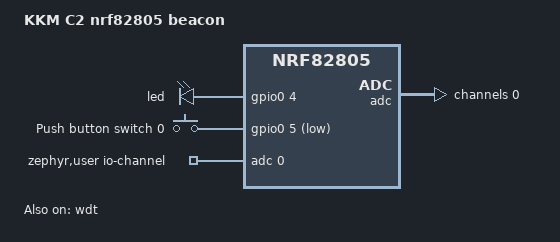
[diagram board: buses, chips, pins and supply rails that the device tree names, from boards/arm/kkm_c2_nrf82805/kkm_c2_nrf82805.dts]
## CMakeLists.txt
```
# SPDX-License-Identifier: Apache-2.0

cmake_minimum_required(VERSION 3.20.0)
find_package(Zephyr REQUIRED HINTS $ENV{ZEPHYR_BASE})
project(EveryTag)

target_sources(app PRIVATE src/main.c src/settings.c src/bq2512x.c src/watchdog.c src/lis2dw12.c)
```

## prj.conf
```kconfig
CONFIG_LOG=y
CONFIG_CONSOLE=y
CONFIG_USE_SEGGER_RTT=y
CONFIG_RTT_CONSOLE=y
CONFIG_NVS_LOG_LEVEL_DBG=y

##CONFIG_LOG_MODE_IMMEDIATE=y

CONFIG_UART_CONSOLE=n
CONFIG_BT=y
CONFIG_BT_SETTINGS=n
CONFIG_BT_PRIVACY=n
CONFIG_BT_GATT_AUTHORIZATION_CUSTOM=y
CONFIG_SPI=n
CONFIG_PWM=n
##CONFIG_I2C=y

CONFIG_SERIAL=n
CONFIG_DYNAMIC_INTERRUPTS=n
CONFIG_IRQ_OFFLOAD=n
##CONFIG_THREAD_STACK_INFO=n
CONFIG_THREAD_CUSTOM_DATA=n
CONFIG_FPU=n
CONFIG_PM=y
CONFIG_PM_DEVICE=y
CONFIG_PM_DEVICE_RUNTIME=y
CONFIG_WATCHDOG=y
CONFIG_ADC=y
CONFIG_GPIO=y
##CONFIG_BOARD_ENABLE_DCDC=y
CONFIG_POWEROFF=y

CONFIG_NEWLIB_LIBC=y
CONFIG_NEWLIB_LIBC_NANO=y
CONFIG_RAM_POWER_DOWN_LIBRARY=y
CONFIG_RAM_POWER_ADJUST_ON_HEAP_RESIZE=y

CONFIG_BT_CTLR_TX_PWR_DYNAMIC_CONTROL=y
#CONFIG_CLOCK_CONTROL_NRF_K32SRC_RC=y
#CONFIG_CLOCK_CONTROL_NRF_K32SRC_500PPM=y

CONFIG_BT_PERIPHERAL=y

CONFIG_BT_DEBUG_NONE=y
CONFIG_BT_ASSERT=n
CONFIG_BT_DATA_LEN_UPDATE=n
CONFIG_BT_PHY_UPDATE=n
CONFIG_BT_GATT_CACHING=n
CONFIG_BT_GATT_SERVICE_CHANGED=n
CONFIG_BT_GAP_PERIPHERAL_PREF_PARAMS=y
CONFIG_BT_SETTINGS_CCC_LAZY_LOADING=n
##CONFIG_BT_HCI_VS_EXT=y
# Disable Bluetooth controller features not needed
CONFIG_BT_CTLR_PRIVACY=n
CONFIG_BT_CTLR_PHY_2M=n

# Reduce Bluetooth buffers

CONFIG_BT_BUF_EVT_DISCARDABLE_COUNT=1
CONFIG_BT_BUF_EVT_DISCARDABLE_SIZE=43
CONFIG_BT_BUF_EVT_RX_COUNT=2
##CONFIG_BT_CONN_TX_MAX=2
CONFIG_BT_L2CAP_TX_BUF_COUNT=2
##CONFIG_BT_CTLR_RX_BUFFERS=2
CONFIG_BT_BUF_ACL_TX_COUNT=3
CONFIG_BT_BUF_ACL_TX_SIZE=27
#CONFIG_BT_BUF_ACL_RX_SIZE=27

CONFIG_BT_RX_STACK_SIZE=1024
CONFIG_BT_HCI_TX_STACK_SIZE_WITH_PROMPT=y
CONFIG_BT_HCI_TX_STACK_SIZE=640
CONFIG_SYSTEM_WORKQUEUE_STACK_SIZE=1024
CONFIG_MAIN_STACK_SIZE=1024
CONFIG_IDLE_STACK_SIZE=128
CONFIG_ISR_STACK_SIZE=1024

CONFIG_FLASH=y
CONFIG_NVS=y
CONFIG_REBOOT=y
CONFIG_MPU_ALLOW_FLASH_WRITE=y
CONFIG_MCUMGR=n
CONFIG_BOOTLOADER_MCUBOOT=n
```

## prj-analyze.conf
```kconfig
CONFIG_LOG=y
CONFIG_CONSOLE=y
CONFIG_USE_SEGGER_RTT=y
CONFIG_RTT_CONSOLE=y
CONFIG_NVS_LOG_LEVEL_DBG=y

CONFIG_THREAD_ANALYZER=y
CONFIG_THREAD_ANALYZER_USE_PRINTK=y
CONFIG_THREAD_ANALYZER_AUTO=y
CONFIG_THREAD_ANALYZER_AUTO_INTERVAL=10
CONFIG_THREAD_NAME=y
CONFIG_THREAD_MONITOR=y
CONFIG_THREAD_RUNTIME_STATS=y

CONFIG_NEWLIB_LIBC=y
CONFIG_NEWLIB_LIBC_NANO=y
CONFIG_RAM_POWER_DOWN_LIBRARY=y
CONFIG_RAM_POWER_ADJUST_ON_HEAP_RESIZE=y


##CONFIG_LOG_MODE_IMMEDIATE=y

CONFIG_UART_CONSOLE=n
CONFIG_BT=y
CONFIG_BT_SETTINGS=n
CONFIG_BT_PRIVACY=n
CONFIG_BT_GATT_AUTHORIZATION_CUSTOM=y
CONFIG_SPI=n
CONFIG_PWM=n
##CONFIG_I2C=y

CONFIG_SERIAL=n
CONFIG_DYNAMIC_INTERRUPTS=n
CONFIG_IRQ_OFFLOAD=n
##CONFIG_THREAD_STACK_INFO=n
CONFIG_THREAD_CUSTOM_DATA=n
CONFIG_FPU=n
CONFIG_PM=y
CONFIG_PM_DEVICE=y
CONFIG_PM_DEVICE_RUNTIME=y
CONFIG_WATCHDOG=y
CONFIG_ADC=y
CONFIG_GPIO=y
##CONFIG_BOARD_ENABLE_DCDC=y
CONFIG_POWEROFF=y

CONFIG_BT_CTLR_TX_PWR_DYNAMIC_CONTROL=y
#CONFIG_CLOCK_CONTROL_NRF_K32SRC_RC=y
#CONFIG_CLOCK_CONTROL_NRF_K32SRC_500PPM=y

CONFIG_BT_PERIPHERAL=y

CONFIG_BT_DEBUG_NONE=y
CONFIG_BT_ASSERT=n
CONFIG_BT_DATA_LEN_UPDATE=n
CONFIG_BT_PHY_UPDATE=n
CONFIG_BT_GATT_CACHING=n
CONFIG_BT_GATT_SERVICE_CHANGED=n
CONFIG_BT_GAP_PERIPHERAL_PREF_PARAMS=y
CONFIG_BT_SETTINGS_CCC_LAZY_LOADING=n
##CONFIG_BT_HCI_VS_EXT=y
# Disable Bluetooth controller features not needed
CONFIG_BT_CTLR_PRIVACY=n
CONFIG_BT_CTLR_PHY_2M=n

# Reduce Bluetooth buffers

CONFIG_BT_BUF_EVT_DISCARDABLE_COUNT=1
CONFIG_BT_BUF_EVT_DISCARDABLE_SIZE=43
CONFIG_BT_BUF_EVT_RX_COUNT=2
##CONFIG_BT_CONN_TX_MAX=2
CONFIG_BT_L2CAP_TX_BUF_COUNT=2
##CONFIG_BT_CTLR_RX_BUFFERS=2
CONFIG_BT_BUF_ACL_TX_COUNT=3
CONFIG_BT_BUF_ACL_TX_SIZE=27
#CONFIG_BT_BUF_ACL_RX_SIZE=27

CONFIG_BT_RX_STACK_SIZE=1024
CONFIG_BT_HCI_TX_STACK_SIZE_WITH_PROMPT=y
CONFIG_BT_HCI_TX_STACK_SIZE=640
CONFIG_SYSTEM_WORKQUEUE_STACK_SIZE=1024
CONFIG_MAIN_STACK_SIZE=1024
CONFIG_IDLE_STACK_SIZE=128
CONFIG_ISR_STACK_SIZE=1024

CONFIG_FLASH=y
CONFIG_NVS=y
CONFIG_REBOOT=y
CONFIG_MPU_ALLOW_FLASH_WRITE=y
CONFIG_MCUMGR=n
CONFIG_BOOTLOADER_MCUBOOT=n
```

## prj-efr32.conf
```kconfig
CONFIG_BT=y
CONFIG_LOG=y
CONFIG_UART_CONSOLE=y
CONFIG_CONSOLE=y
CONFIG_USE_SEGGER_RTT=y
CONFIG_RTT_CONSOLE=y
CONFIG_BT_SETTINGS=n
CONFIG_BT_PRIVACY=n
CONFIG_SPI=n
CONFIG_PWM=n
CONFIG_I2C=n
CONFIG_SERIAL=y
CONFIG_DYNAMIC_INTERRUPTS=n
CONFIG_IRQ_OFFLOAD=n
#CONFIG_THREAD_STACK_INFO=n
CONFIG_THREAD_CUSTOM_DATA=n
CONFIG_FPU=n
CONFIG_PM=y
CONFIG_PM_DEVICE=y
CONFIG_WATCHDOG=y
CONFIG_ADC=y

#CONFIG_BT_CTLR_TX_PWR_DYNAMIC_CONTROL=y
#CONFIG_BT_CTLR_TX_PWR_MINUS_4=y
#CONFIG_BT_CTLR_TX_PWR_PLUS_4=y
#CONFIG_CLOCK_CONTROL_NRF_K32SRC_RC=y
#CONFIG_CLOCK_CONTROL_NRF_K32SRC_500PPM=y
```

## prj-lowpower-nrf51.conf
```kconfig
CONFIG_LOG=n
CONFIG_CONSOLE=n
CONFIG_USE_SEGGER_RTT=n
CONFIG_RTT_CONSOLE=n
CONFIG_NVS_LOG_LEVEL_DBG=n

CONFIG_LOG_MODE_IMMEDIATE=y

CONFIG_UART_CONSOLE=n
CONFIG_BT=y
CONFIG_BT_SETTINGS=n
CONFIG_BT_PRIVACY=n
CONFIG_SPI=n
CONFIG_PWM=n
CONFIG_I2C=n
CONFIG_SERIAL=n
CONFIG_DYNAMIC_INTERRUPTS=n
CONFIG_IRQ_OFFLOAD=n
CONFIG_THREAD_STACK_INFO=n
CONFIG_THREAD_CUSTOM_DATA=n
CONFIG_FPU=n
CONFIG_PM=y
CONFIG_PM_DEVICE=y
CONFIG_WATCHDOG=y
CONFIG_ADC=y
CONFIG_GPIO=y
#CONFIG_BOARD_ENABLE_DCDC=y

CONFIG_BT_CTLR_TX_PWR_DYNAMIC_CONTROL=y
CONFIG_CLOCK_CONTROL_NRF_K32SRC_RC=y
CONFIG_CLOCK_CONTROL_NRF_K32SRC_500PPM=y

CONFIG_BT_PERIPHERAL=y

CONFIG_BT_DEBUG_NONE=y
CONFIG_BT_ASSERT=n
CONFIG_BT_DATA_LEN_UPDATE=n
CONFIG_BT_PHY_UPDATE=n
CONFIG_BT_GATT_CACHING=n
CONFIG_BT_GATT_SERVICE_CHANGED=n
CONFIG_BT_GAP_PERIPHERAL_PREF_PARAMS=y
CONFIG_BT_SETTINGS_CCC_LAZY_LOADING=n
CONFIG_BT_HCI_VS_EXT=y
# Disable Bluetooth controller features not needed
CONFIG_BT_CTLR_PRIVACY=n
CONFIG_BT_CTLR_PHY_2M=n

# Reduce Bluetooth buffers

CONFIG_BT_BUF_EVT_DISCARDABLE_COUNT=1
CONFIG_BT_BUF_EVT_DISCARDABLE_SIZE=43
CONFIG_BT_BUF_EVT_RX_COUNT=2
CONFIG_BT_CONN_TX_MAX=2
CONFIG_BT_L2CAP_TX_BUF_COUNT=2
CONFIG_BT_CTLR_RX_BUFFERS=2
CONFIG_BT_BUF_ACL_TX_COUNT=3
CONFIG_BT_BUF_ACL_TX_SIZE=27
#CONFIG_BT_BUF_ACL_RX_SIZE=27

CONFIG_BT_RX_STACK_SIZE=1024
CONFIG_BT_HCI_TX_STACK_SIZE_WITH_PROMPT=y
CONFIG_BT_HCI_TX_STACK_SIZE=640
CONFIG_SYSTEM_WORKQUEUE_STACK_SIZE=1024
CONFIG_MAIN_STACK_SIZE=1024
CONFIG_IDLE_STACK_SIZE=128
CONFIG_ISR_STACK_SIZE=1024

CONFIG_FLASH=y
CONFIG_NVS=y
CONFIG_REBOOT=y
CONFIG_MPU_ALLOW_FLASH_WRITE=y
```

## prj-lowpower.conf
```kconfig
CONFIG_LOG=n
CONFIG_CONSOLE=n
CONFIG_USE_SEGGER_RTT=n
CONFIG_RTT_CONSOLE=n
CONFIG_NVS_LOG_LEVEL_DBG=n

##CONFIG_LOG_MODE_IMMEDIATE=y

CONFIG_UART_CONSOLE=n
CONFIG_BT=y
CONFIG_BT_SETTINGS=n
CONFIG_BT_PRIVACY=n
CONFIG_BT_GATT_AUTHORIZATION_CUSTOM=y
CONFIG_SPI=n
CONFIG_PWM=n
CONFIG_SERIAL=n
CONFIG_DYNAMIC_INTERRUPTS=n
CONFIG_IRQ_OFFLOAD=n
##CONFIG_THREAD_STACK_INFO=n
CONFIG_THREAD_CUSTOM_DATA=n
CONFIG_FPU=n
CONFIG_PM=n
CONFIG_PM_DEVICE=y
CONFIG_PM_DEVICE_RUNTIME=y
CONFIG_WATCHDOG=y
CONFIG_ADC=y
CONFIG_POWEROFF=y

CONFIG_NEWLIB_LIBC=y
CONFIG_NEWLIB_LIBC_NANO=y
CONFIG_RAM_POWER_DOWN_LIBRARY=y
CONFIG_RAM_POWER_ADJUST_ON_HEAP_RESIZE=y

CONFIG_BT_CTLR_TX_PWR_DYNAMIC_CONTROL=y

# Moved to board's <DTS/_defconfig
##CONFIG_CLOCK_CONTROL_NRF_K32SRC_RC=y
##CONFIG_CLOCK_CONTROL_NRF_K32SRC_500PPM=y
##CONFIG_I2C=n
##CONFIG_BOARD_ENABLE_DCDC=y

CONFIG_BT_PERIPHERAL=y

CONFIG_BT_DEBUG_NONE=y
CONFIG_BT_ASSERT=n
CONFIG_BT_DATA_LEN_UPDATE=n
CONFIG_BT_PHY_UPDATE=n
CONFIG_BT_GATT_CACHING=n
CONFIG_BT_GATT_SERVICE_CHANGED=n
CONFIG_BT_GAP_PERIPHERAL_PREF_PARAMS=y
CONFIG_BT_SETTINGS_CCC_LAZY_LOADING=n
##CONFIG_BT_HCI_VS_EXT=y
# Disable Bluetooth controller features not needed
CONFIG_BT_CTLR_PRIVACY=n
CONFIG_BT_CTLR_PHY_2M=n

# Reduce Bluetooth buffers

CONFIG_BT_BUF_EVT_DISCARDABLE_COUNT=1
CONFIG_BT_BUF_EVT_DISCARDABLE_SIZE=43
CONFIG_BT_BUF_EVT_RX_COUNT=2
##CONFIG_BT_CONN_TX_MAX=2
CONFIG_BT_L2CAP_TX_BUF_COUNT=2
##CONFIG_BT_CTLR_RX_BUFFERS=2
CONFIG_BT_BUF_ACL_TX_COUNT=3
CONFIG_BT_BUF_ACL_TX_SIZE=27
#CONFIG_BT_BUF_ACL_RX_SIZE=27

CONFIG_BT_RX_STACK_SIZE=1024
CONFIG_BT_HCI_TX_STACK_SIZE_WITH_PROMPT=y
CONFIG_BT_HCI_TX_STACK_SIZE=640
CONFIG_SYSTEM_WORKQUEUE_STACK_SIZE=1024
CONFIG_MAIN_STACK_SIZE=1024
CONFIG_IDLE_STACK_SIZE=128
CONFIG_ISR_STACK_SIZE=1024

CONFIG_FLASH=y
CONFIG_NVS=y
CONFIG_REBOOT=y
CONFIG_MPU_ALLOW_FLASH_WRITE=y
CONFIG_MCUMGR=n
CONFIG_BOOTLOADER_MCUBOOT=n
```

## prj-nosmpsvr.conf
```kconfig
# Enable MCUmgr and dependencies.
CONFIG_LOG=y
CONFIG_CONSOLE=y
CONFIG_USE_SEGGER_RTT=y
CONFIG_RTT_CONSOLE=y
CONFIG_NVS_LOG_LEVEL_DBG=y

CONFIG_UART_CONSOLE=n

CONFIG_NET_BUF=n
CONFIG_ZCBOR=n
CONFIG_CRC=y
CONFIG_MCUMGR=n
CONFIG_STREAM_FLASH=n
CONFIG_FLASH_MAP=y

# Some command handlers require a large stack.
CONFIG_SYSTEM_WORKQUEUE_STACK_SIZE=2304
CONFIG_MAIN_STACK_SIZE=2176

# Ensure an MCUboot-compatible binary is generated.
CONFIG_BOOTLOADER_MCUBOOT=n

# Enable flash operations.
CONFIG_FLASH=y

# Required by the `taskstat` command.
CONFIG_THREAD_MONITOR=n

# Support for taskstat command
CONFIG_MCUMGR_GRP_OS_TASKSTAT=n

# Enable statistics and statistic names.
CONFIG_STATS=n
CONFIG_STATS_NAMES=n

# Enable most core commands.
CONFIG_FLASH=y
CONFIG_IMG_MANAGER=n
CONFIG_MCUMGR_GRP_IMG=n
CONFIG_MCUMGR_GRP_OS=n
CONFIG_MCUMGR_GRP_STAT=n

# Enable logging
CONFIG_LOG=y
CONFIG_MCUBOOT_UTIL_LOG_LEVEL_WRN=n

# Disable debug logging
CONFIG_LOG_MAX_LEVEL=3

CONFIG_BT=y
CONFIG_BT_PERIPHERAL=y
CONFIG_BT_GATT_AUTHORIZATION_CUSTOM=y

# Allow for large Bluetooth data packets.
CONFIG_BT_L2CAP_TX_MTU=498
CONFIG_BT_BUF_ACL_RX_SIZE=502
CONFIG_BT_BUF_ACL_TX_SIZE=502
CONFIG_BT_CTLR_DATA_LENGTH_MAX=251

# Enable the Bluetooth mcumgr transport (unauthenticated).
CONFIG_MCUMGR_TRANSPORT_BT=y
CONFIG_MCUMGR_TRANSPORT_BT_CONN_PARAM_CONTROL=y

# Enable the Shell mcumgr transport.
CONFIG_BASE64=y
CONFIG_CRC=y
CONFIG_SHELL=n
CONFIG_SHELL_BACKEND_SERIAL=n
CONFIG_MCUMGR_TRANSPORT_SHELL=y

# Enable the mcumgr Packet Reassembly feature over Bluetooth and its configuration dependencies.
# MCUmgr buffer size is optimized to fit one SMP packet divided into five Bluetooth Write Commands,
# transmitted with the maximum possible MTU value: 498 bytes.
CONFIG_MCUMGR_TRANSPORT_BT_REASSEMBLY=y
CONFIG_MCUMGR_TRANSPORT_NETBUF_SIZE=2475
CONFIG_MCUMGR_GRP_OS_MCUMGR_PARAMS=y
CONFIG_MCUMGR_TRANSPORT_WORKQUEUE_STACK_SIZE=4608

# Enable the LittleFS file system.
CONFIG_FILE_SYSTEM=n
CONFIG_FILE_SYSTEM_LITTLEFS=n

# Enable file system commands
CONFIG_MCUMGR_GRP_FS=y

# Enable the storage erase command.
CONFIG_MCUMGR_GRP_ZBASIC=y
CONFIG_MCUMGR_GRP_ZBASIC_STORAGE_ERASE=n

# Disable Bluetooth ping support
CONFIG_BT_CTLR_LE_PING=n

# Disable shell commands that are not needed
CONFIG_CLOCK_CONTROL_NRF_SHELL=n
CONFIG_DEVICE_SHELL=n
CONFIG_DEVMEM_SHELL=n
CONFIG_FLASH_SHELL=n
CONFIG_BT_CTLR_TX_PWR_DYNAMIC_CONTROL=y
CONFIG_PM=y
CONFIG_PM_DEVICE=y
CONFIG_PM_DEVICE_RUNTIME=y
CONFIG_WATCHDOG=y
CONFIG_ADC=y
CONFIG_GPIO=y
CONFIG_POWEROFF=y
CONFIG_NVS=y
CONFIG_REBOOT=y
CONFIG_MPU_ALLOW_FLASH_WRITE=y

CONFIG_SPI=n
CONFIG_PWM=n
CONFIG_SERIAL=n
CONFIG_DYNAMIC_INTERRUPTS=n
CONFIG_IRQ_OFFLOAD=n
##CONFIG_THREAD_STACK_INFO=n
CONFIG_THREAD_CUSTOM_DATA=n
CONFIG_FPU=n
```

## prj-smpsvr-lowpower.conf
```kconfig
# Enable MCUmgr and dependencies.
CONFIG_LOG=n
CONFIG_CONSOLE=n
CONFIG_USE_SEGGER_RTT=n
CONFIG_RTT_CONSOLE=n
CONFIG_NVS_LOG_LEVEL_DBG=n

CONFIG_UART_CONSOLE=n

CONFIG_NET_BUF=y
CONFIG_ZCBOR=y
CONFIG_CRC=y
CONFIG_MCUMGR=y
CONFIG_STREAM_FLASH=y
CONFIG_FLASH_MAP=y

CONFIG_NEWLIB_LIBC=y
CONFIG_NEWLIB_LIBC_NANO=y
CONFIG_RAM_POWER_DOWN_LIBRARY=y
CONFIG_RAM_POWER_ADJUST_ON_HEAP_RESIZE=y

# Some command handlers require a large stack.
CONFIG_SYSTEM_WORKQUEUE_STACK_SIZE=2304
CONFIG_MAIN_STACK_SIZE=2176

# Ensure an MCUboot-compatible binary is generated.
CONFIG_BOOTLOADER_MCUBOOT=y

# Enable flash operations.
CONFIG_FLASH=y

# Required by the `taskstat` command.
CONFIG_THREAD_MONITOR=y

# Support for taskstat command
CONFIG_MCUMGR_GRP_OS_TASKSTAT=y

# Enable statistics and statistic names.
CONFIG_STATS=y
CONFIG_STATS_NAMES=y

# Enable most core commands.
CONFIG_FLASH=y
CONFIG_IMG_MANAGER=y
CONFIG_MCUMGR_GRP_IMG=y
CONFIG_MCUMGR_GRP_OS=y
CONFIG_MCUMGR_GRP_STAT=y

# Enable logging
CONFIG_LOG=y
CONFIG_MCUBOOT_UTIL_LOG_LEVEL_WRN=y

# Disable debug logging
CONFIG_LOG_MAX_LEVEL=3

CONFIG_BT=y
CONFIG_BT_PERIPHERAL=y
CONFIG_BT_GATT_AUTHORIZATION_CUSTOM=y

# Allow for large Bluetooth data packets.
CONFIG_BT_L2CAP_TX_MTU=498
CONFIG_BT_BUF_ACL_RX_SIZE=502
CONFIG_BT_BUF_ACL_TX_SIZE=502
CONFIG_BT_CTLR_DATA_LENGTH_MAX=251

# Enable the Bluetooth mcumgr transport (unauthenticated).
CONFIG_MCUMGR_TRANSPORT_BT=y
CONFIG_MCUMGR_TRANSPORT_BT_CONN_PARAM_CONTROL=y

# Enable the Shell mcumgr transport.
CONFIG_BASE64=y
CONFIG_CRC=y
CONFIG_SHELL=n
CONFIG_SHELL_BACKEND_SERIAL=n
CONFIG_MCUMGR_TRANSPORT_SHELL=y

# Enable the mcumgr Packet Reassembly feature over Bluetooth and its configuration dependencies.
# MCUmgr buffer size is optimized to fit one SMP packet divided into five Bluetooth Write Commands,
# transmitted with the maximum possible MTU value: 498 bytes.
CONFIG_MCUMGR_TRANSPORT_BT_REASSEMBLY=y
CONFIG_MCUMGR_TRANSPORT_NETBUF_SIZE=2475
CONFIG_MCUMGR_GRP_OS_MCUMGR_PARAMS=y
CONFIG_MCUMGR_TRANSPORT_WORKQUEUE_STACK_SIZE=4608

# Enable the LittleFS file system.
CONFIG_FILE_SYSTEM=n
CONFIG_FILE_SYSTEM_LITTLEFS=n

# Enable file system commands
CONFIG_MCUMGR_GRP_FS=y

# Enable the storage erase command.
CONFIG_MCUMGR_GRP_ZBASIC=y
CONFIG_MCUMGR_GRP_ZBASIC_STORAGE_ERASE=n

# Disable Bluetooth ping support
CONFIG_BT_CTLR_LE_PING=n

# Disable shell commands that are not needed
CONFIG_CLOCK_CONTROL_NRF_SHELL=n
CONFIG_DEVICE_SHELL=n
CONFIG_DEVMEM_SHELL=n
CONFIG_FLASH_SHELL=n
CONFIG_BT_CTLR_TX_PWR_DYNAMIC_CONTROL=y
CONFIG_PM=y
CONFIG_PM_DEVICE=y
CONFIG_PM_DEVICE_RUNTIME=y
CONFIG_WATCHDOG=y
CONFIG_ADC=y
CONFIG_GPIO=y
CONFIG_POWEROFF=y
CONFIG_NVS=y
CONFIG_REBOOT=y
CONFIG_MPU_ALLOW_FLASH_WRITE=y


CONFIG_SPI=n
CONFIG_PWM=n
CONFIG_SERIAL=n
CONFIG_DYNAMIC_INTERRUPTS=n
CONFIG_IRQ_OFFLOAD=n
##CONFIG_THREAD_STACK_INFO=n
CONFIG_THREAD_CUSTOM_DATA=n
CONFIG_FPU=n
```

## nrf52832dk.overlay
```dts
/ {
  zephyr,user {
    io-channels = <&adc 0>;
  };
};

&adc {
  #address-cells = <1>;
  #size-cells = <0>;
  status="okay";

  channel@0 {
    reg = <0>;
    zephyr,gain = "ADC_GAIN_1_6";
    zephyr,reference = "ADC_REF_INTERNAL";
    zephyr,acquisition-time = <ADC_ACQ_TIME_DEFAULT>;
    zephyr,input-positive = <NRF_SAADC_VDD>;
    zephyr,resolution = <14>;
    zephyr,oversampling = <8>;
  };

  zephyr,pm-device-runtime-auto;
};
```

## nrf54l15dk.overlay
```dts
/ {
  zephyr,user {
    io-channels = <&adc 0>;
  };
};

&adc {
  #address-cells = <1>;
  #size-cells = <0>;
  status="okay";

  channel@0 {
    reg = <0>;
    zephyr,gain = "ADC_GAIN_1_4";
    zephyr,reference = "ADC_REF_INTERNAL";
    zephyr,acquisition-time = <ADC_ACQ_TIME_DEFAULT>;
    zephyr,input-positive = <NRF_SAADC_VDD>;
    zephyr,resolution = <14>;
    zephyr,oversampling = <8>;
  };

  zephyr,pm-device-runtime-auto;
};

&wdt31 {
	status = "okay";
};
```

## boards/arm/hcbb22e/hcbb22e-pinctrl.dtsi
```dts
&pinctrl {
	i2c0_default: i2c0_default {
		group1 {
			psels = <NRF_PSEL(TWIM_SDA, 0, 15)>,
				<NRF_PSEL(TWIM_SCL, 0, 5)>;
      bias-pull-up;
		};
	};

	i2c0_sleep: i2c0_sleep {
		group1 {
			psels = <NRF_PSEL(TWIM_SDA, 0, 15)>,
				<NRF_PSEL(TWIM_SCL, 0, 5)>;
      bias-disable;
			low-power-enable;
		};
	};
};
```

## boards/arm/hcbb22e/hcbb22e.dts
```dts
// Copyright (c) 2024 Nordic Semiconductor ASA
// SPDX-License-Identifier: Apache-2.0

/dts-v1/;
#include <nordic/nrf52832_qfaa.dtsi>
#include "hcbb22e-pinctrl.dtsi"
#include <zephyr/dt-bindings/input/input-event-codes.h>

/ {
	model = "hcbb22e";
	compatible = "Honeycomm,hcbb22e";

	chosen {
		zephyr,sram = &sram0;
		zephyr,flash = &flash0;
		zephyr,code-partition = &slot0_partition;
	};

	leds {
		compatible = "gpio-leds";
		led0: led_0 {
			gpios = <&gpio0 4 GPIO_ACTIVE_LOW>;
			label = "led";
		};
	};

  zephyr,user {
    io-channels = <&adc 0>;
  };
};

&flash0 {
	partitions {
		compatible = "fixed-partitions";
		#address-cells = <1>;
		#size-cells = <1>;

		boot_partition: partition@0 {
			label = "mcuboot";
			reg = <0x0 0xc000>;
		};
		slot0_partition: partition@c000 {
			label = "image-0";
			reg = <0x0000C000 0x37000>;
		};
		slot1_partition: partition@43000 {
			label = "image-1";
			reg = <0x00043000 0x37000>;
		};
		storage_partition: partition@7a000 {
			label = "storage";
			reg = <0x0007A000 0x00006000>;
		};
	};
};

&reg {
	regulator-initial-mode = <NRF5X_REG_MODE_DCDC>;
};

//&i2c0 {
//  compatible = "nordic,nrf-twim";
//  status = "okay";
//  clock-frequency = <I2C_BITRATE_FAST>;
//  pinctrl-0 = <&i2c0_default>;
//  pinctrl-1 = <&i2c0_sleep>;
//  pinctrl-names = "default", "sleep";
//  bq2512x: bq2512x@6a {
//    compatible = "i2c-device";
//    label = "BQ2512x";
//    reg = <0x6a>;
//  };
//};


&uicr {
	gpio-as-nreset;
};

&gpiote {
	status = "okay";
};

&gpio0 {
	status = "okay";
};

&wdt {
  status = "okay";
};

&adc {
  #address-cells = <1>;
  #size-cells = <0>;
  status="okay";

  channel@0 {
    reg = <0>;
    zephyr,gain = "ADC_GAIN_1_6";
    zephyr,reference = "ADC_REF_INTERNAL";
    zephyr,acquisition-time = <ADC_ACQ_TIME_DEFAULT>;
    zephyr,input-positive = <NRF_SAADC_VDD>;
    zephyr,resolution = <14>;
    zephyr,oversampling = <8>;
  };

  zephyr,pm-device-runtime-auto;
};
```

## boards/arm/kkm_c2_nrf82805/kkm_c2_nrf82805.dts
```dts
// Copyright (c) 2024 Nordic Semiconductor ASA
// SPDX-License-Identifier: Apache-2.0

/dts-v1/;
#include <nordic/nrf52805_caaa.dtsi>
#include <zephyr/dt-bindings/input/input-event-codes.h>

/ {
	model = "KKM C2 nrf82805 beacon";
	compatible = "kkm-c2,kkm-c2-nrf82805";

	chosen {
		zephyr,sram = &sram0;
		zephyr,flash = &flash0;
		zephyr,code-partition = &slot0_partition;
	};

	leds {
		compatible = "gpio-leds";
		led0: led_0 {
			gpios = <&gpio0 4 GPIO_ACTIVE_HIGH>;
			label = "led";
		};
	};

  buttons {
    compatible = "gpio-keys";
    button0: button_0 {
      gpios = <&gpio0 5 (GPIO_PULL_UP | GPIO_ACTIVE_LOW)>;
      label = "Push button switch 0";
      zephyr,code = <INPUT_KEY_0>;
    };
  };

  aliases {
    sw0 = &button0;
  };

  zephyr,user {
    io-channels = <&adc 0>;
  };
};

&flash0 {
	partitions {
		compatible = "fixed-partitions";
		#address-cells = <1>;
		#size-cells = <1>;

		boot_partition: partition@0 {
			label = "mcuboot";
			reg = <0x0 0xc000>;
		};
		slot0_partition: partition@c000 {
			label = "image-0";
			reg = <0xc000 0xa000>;
		};
		slot1_partition: partition@16000 {
			label = "image-1";
			reg = <0x16000 0xa000>;
		};
		scratch_partition: partition@20000 {
			label = "image-scratch";
			reg = <0x20000 0xa000>;
		};
		storage_partition: partition@2a000 {
			label = "storage";
			reg = <0x2a000 0x6000>;
		};
	};
};

&reg {
    regulator-initial-mode = <NRF5X_REG_MODE_DCDC>;
};

&uicr {
	gpio-as-nreset;
};
&gpiote {
	status = "okay";
};

&gpio0 {
	status = "okay";
};

&bprot {
	status = "disabled";
};

&wdt {
  status = "okay";
};

&adc {
  #address-cells = <1>;
  #size-cells = <0>;
  status="okay";

  channel@0 {
    reg = <0>;
    zephyr,gain = "ADC_GAIN_1_6";
    zephyr,reference = "ADC_REF_INTERNAL";
    zephyr,acquisition-time = <ADC_ACQ_TIME_DEFAULT>;
    zephyr,input-positive = <NRF_SAADC_VDD>;
    zephyr,resolution = <14>;
    zephyr,oversampling = <8>;
  };

  zephyr,pm-device-runtime-auto;
};
```

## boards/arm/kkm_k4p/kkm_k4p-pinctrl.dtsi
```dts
&pinctrl {
  i2c0_default: i2c0_default {
    group1 {
      psels = <NRF_PSEL(TWIM_SDA, 0, 28)>,
        <NRF_PSEL(TWIM_SCL, 0, 29)>;
      bias-pull-up;
    };
  };

  i2c0_sleep: i2c0_sleep {
    group1 {
      psels = <NRF_PSEL(TWIM_SDA, 0, 28)>,
        <NRF_PSEL(TWIM_SCL, 0, 29)>;
      bias-pull-up;
      low-power-enable;
    };
  };
};
```

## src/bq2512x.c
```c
// Support functions for BQ2512X series I2C chargers
//
#include "bq2512x.h"

#ifdef USE_BQ25121A

#include <stdlib.h>
#include <zephyr/types.h>
#include <stddef.h>
#include <zephyr/sys/printk.h>
#include <zephyr/sys/util.h>
#include <zephyr/sys/byteorder.h>
#include <zephyr/sys/poweroff.h>
#include <zephyr/kernel.h>
#include <zephyr/device.h>
#include <zephyr/drivers/gpio.h>
#include <zephyr/pm/pm.h>
#include <zephyr/pm/device.h>
#include <zephyr/drivers/i2c.h>




#define I2C0_NODE DT_NODELABEL(bq2512x)
static const struct i2c_dt_spec dev_i2c = I2C_DT_SPEC_GET(I2C0_NODE);


#if CONFIG_GPIO
#define CD_PIN_NODE DT_NODELABEL(bq2512x_cd)
static const struct gpio_dt_spec cdpin_spec = GPIO_DT_SPEC_GET(CD_PIN_NODE, gpios);
#define GPIO_ID DT_NODELABEL(gpio0)
#endif

// Last known voltage of the battery
int bq2512x_lastVoltage;

const struct device *const i2c_dev = DEVICE_DT_GET(DT_NODELABEL(i2c0));

// Suspend i2c bus to save power
void bq2512x_suspend_i2c() {
  int rc = pm_device_action_run(i2c_dev, PM_DEVICE_ACTION_SUSPEND);

  if (rc < 0)
    printk("Could not suspend I2C (%d)\n", rc);
  return;
}

// Resume i2c bus
void bq2512x_resume_i2c() {
  int rc = pm_device_action_run(i2c_dev, PM_DEVICE_ACTION_RESUME);

  if (rc < 0)
    printk("Could not resume I2C (%d)\n", rc);
  return;
}

// Put into active mode (CD to high)
void bq2512x_activate() {
  printk("bq2512x_activate: pulling CD high\n");
  // active state is high
  gpio_pin_configure_dt(&cdpin_spec, GPIO_OUTPUT | GPIO_OUTPUT_ACTIVE);
}

// Put into high-impedance mode (CD to low)
void bq2512x_deactivate() {
  printk("bq2512x_deactivate: disconnecting CD\n");
  // Just deactivate GPIO line, CD is pulled down internally
  gpio_pin_configure_dt(&cdpin_spec, GPIO_DISCONNECTED);
}

// Set LDO output voltage in millivolts (if zero - LS/LDO will be disabled, default is 1.8V)
void bq2512x_set_ldo(int voltage) {
  int ldoval;

  if (!device_is_ready(dev_i2c.bus)) {
    printk("I2C bus %s is not ready!\n\r",dev_i2c.bus->name);
    return;
  }

  switch (voltage) {
    case 2800:
      ldoval = 0xF0;
      break;
    case 2700:
      ldoval = 0xEC;
      break;
    case 2500:
      ldoval = 0xE4;
      break;
    case 2300:
      ldoval = 0xDC;
      break;
    case 0:
      ldoval = 0;
      break;
    default:
      ldoval = 0xC8;
  }
  printk("bq2512x_set_ldo: Writing %02X to LOADSW_LDO_CTL\n", ldoval);
  int ret = i2c_reg_write_byte_dt(&dev_i2c, BQ2512X_LOADSW_LDO_CTL_REG, ldoval);
  if (ret != 0) {
    printk("bq2512x_set_ldo: write error %d!\n", ret);
    return;
  }
}

// Set SYS output voltage in millivolts (2300, 2500, 2700, 2800 are supported, all other values will cause 1.8V)
void bq2512x_set_sys(int voltage) {
  int sysval;

  if (!device_is_ready(dev_i2c.bus)) {
    printk("I2C bus %s is not ready!\n\r",dev_i2c.bus->name);
    return;
  }
  
  switch (voltage) {
    case 2800:
      sysval = 0xbe;
      break;
    case 2700:
      sysval = 0xbc;
      break;
    case 2500:
      sysval = 0xb8;
      break;
    case 2300:
      sysval = 0xb4;
      break;
    default:
      sysval = 0xaa;
  }
  printk("bq2512x_set_sys: Writing %02X to SYSTEM_VOUT_CTL\n", sysval);
  int ret = i2c_reg_write_byte_dt(&dev_i2c, BQ2512X_SYSTEM_VOUT_CTL_REG, sysval);
  if (ret != 0) {
    printk("bq2512x_set_sys: write error %d!\n", ret);
    return;
  }
}

// Set fast charge limit current (5/10/20/40mA)
void bq2512x_set_fchg(int current) {
  uint8_t fchg;

  if (!device_is_ready(dev_i2c.bus)) {
    printk("I2C bus %s is not ready!\n\r",dev_i2c.bus->name);
    return;
  }

  switch (current) {
    case 40:
      fchg = 0x90;
      break;
    case 20:
      fchg = 0x50;
      break;
    case 10:
      fchg = 0x28;
      break;
    default:
      // 5mA default
      fchg = 0x14;
  }
  printk("bq2512x_set_fchg: Writing %02X to FASTCHARGE_CTL\n", fchg);
  int ret = i2c_reg_write_byte_dt(&dev_i2c, BQ2512X_FASTCHARGE_CTL_REG, fchg);
  if (ret != 0) {
    printk("bq2512x_set_fchg: write error %d!\n", ret);
    return;
  }
}

// Set pre-charge/termination limit current (2/5/10/20mA)
void bq2512x_set_pchg(int current) {
  uint8_t pchg;

  if (!device_is_ready(dev_i2c.bus)) {
    printk("I2C bus %s is not ready!\n\r",dev_i2c.bus->name);
    return;
  }

  switch (current) {
    case 20:
      pchg = 0xba;
      break;
    case 10:
      pchg = 0x92;
      break;
    case 5:
      pchg = 0x2a;
      break;
    default:
      // 2mA default
      pchg = 0x12;
  }
  printk("bq2512x_set_pchg: Writing %02X to CHARGETERM_CTL\n", pchg);
  int ret = i2c_reg_write_byte_dt(&dev_i2c, BQ2512X_CHARGETERM_CTL_REG, pchg);
  if (ret != 0) {
    printk("bq2512x_set_pchg: write error %d!\n", ret);
    return;
  }
}

// Disable TS control, returns zero if TS was disabled, positive if enabled, -1 if error at read
int bq2512x_ts_disable() {
  uint8_t data;
  int ret;
  int res = 1;
  int read_loops = 2;

  if (!device_is_ready(dev_i2c.bus)) {
    printk("I2C bus %s is not ready!\n\r",dev_i2c.bus->name);
    return -1;
  }
  do {
    ret = i2c_reg_read_byte_dt(&dev_i2c, BQ2512X_TSCONTROL_STATUS_REG, &data);
    if (ret != 0)
      printk("Failed to read from I2C device address %x at Reg. %x \n", dev_i2c.addr, BQ2512X_TSCONTROL_STATUS_REG);
    read_loops--;
  } while (read_loops > 0);
  if (ret != 0)
    return -1;

  // Check if TS is enabled
  if (data &0x80)
    res = 1;
  else 
    res = 0;
  printk("bq2512x_ts_disable: read %02X from TSCONTROL_STATUS_REG\n", data);
  data = 0x08;
  printk("bq2512x_ts_disable: Writing %02X to TSCONTROL_STATUS_REG\n", data);
  ret = i2c_reg_write_byte_dt(&dev_i2c, BQ2512X_TSCONTROL_STATUS_REG, data);
  if (ret != 0) {
    printk("bq2512x_ts_disable: write error %d!\n", ret);
    return -1;
  }
  return res;
}

// Set Battery under-voltage, in millivolts (3000, 2800, 2600, 2400 are supported)
void bq2512x_set_buvlo(int voltage) {
  int val;

  if (!device_is_ready(dev_i2c.bus)) {
    printk("I2C bus %s is not ready!\n\r",dev_i2c.bus->name);
    return;
  }
  switch (voltage) {
    case 3000:
      val = 0x12;
      break;
    case 2800:
      val = 0x13;
      break;
    case 2600:
      val = 0x14;
      break;
    default:
      val = 0x15;
  }
  printk("bq2512x_set_buvlo: Writing %02X to ILIMIT_UVLO_CTL_REG\n", val);
  int ret = i2c_reg_write_byte_dt(&dev_i2c, BQ2512X_ILIMIT_UVLO_CTL_REG, val);
  if (ret != 0) {
    printk("bq2512x_set_buvlo: write error %d!\n", ret);
    return;
  }
}

// Read status/shipmode register
int bq2512x_status() {
  int ret;
  uint8_t data;

  if (!device_is_ready(dev_i2c.bus)) {
    printk("I2C bus %s is not ready!\n\r",dev_i2c.bus->name);
    return -1;
  }
  ret = i2c_reg_read_byte_dt(&dev_i2c, BQ2512X_STATUS_SHIPMODE_REG, &data);
  if (ret != 0) {
    printk("Failed to read from I2C device address %x at Reg. %x \n\r", dev_i2c.addr, BQ2512X_STATUS_SHIPMODE_REG);
    return -1;
  }
  printk("bq2512x_status: read status/shipmode reg: %02x\n",data);
  return data;
}

// Switch to ship-mode
void bq2512x_shipmode() {
  bq2512x_resume_i2c();
  if (!device_is_ready(dev_i2c.bus)) {
    printk("I2C bus %s is not ready!\n\r",dev_i2c.bus->name);
    return;
  }
  // Check if we are charging (don't do shipmode if charging)
  int status = bq2512x_status();
  if ((status > 0) && (status & 0xC0))
    return;
  printk("bq2512x_shipmode: Attempting to enter shipmode\n");
  // Activate i2c and wait for transition time
  bq2512x_activate();
  k_sleep(K_MSEC(2));
  // Enter shipmode
  int ret = i2c_reg_write_byte_dt(&dev_i2c, BQ2512X_STATUS_SHIPMODE_REG, 0x20);
  if (ret != 0)
    printk("Failed to write to I2C device address %x at Reg. %x \n\r", dev_i2c.addr, BQ2512X_STATUS_SHIPMODE_REG);
  // Shouldn't be here but well...
  bq2512x_deactivate();
  bq2512x_suspend_i2c();
}

// Read faults register
int bq2512x_faults() {
  int ret;
  uint8_t data;

  if (!device_is_ready(dev_i2c.bus)) {
    printk("I2C bus %s is not ready!\n\r",dev_i2c.bus->name);
    return -1;
  }
  ret = i2c_reg_read_byte_dt(&dev_i2c, BQ2512X_FAULTS_FAULTMASKS_REG, &data);
  if (ret != 0) {
    printk("Failed to read from I2C device address %x at Reg. %x \n\r", dev_i2c.addr, BQ2512X_FAULTS_FAULTMASKS_REG);
    return -1;
  }
  printk("bq2512x_faults: read faults/masks reg: %02x\n",data);
  return data;
}

// Read power gauge register and return approximate voltage in millivolts
int bq2512x_gauge() {
  uint8_t data;
  int ret;

  if (!device_is_ready(dev_i2c.bus)) {
    printk("I2C bus %s is not ready!\n\r",dev_i2c.bus->name);
    return -1;
  }
  
  ret = i2c_reg_read_byte_dt(&dev_i2c, BQ2512X_BATT_VOLT_MONITOR_REG, &data);
  if (ret != 0) {
    printk("Failed to read from I2C device address %x at Reg. %x \n\r", dev_i2c.addr, BQ2512X_BATT_VOLT_MONITOR_REG);
    return -1;
  }

  // Initiate new battery reading
  ret = i2c_reg_write_byte_dt(&dev_i2c, BQ2512X_BATT_VOLT_MONITOR_REG, 0x80);
  if (ret != 0) {
    printk("Failed to write to I2C device address %x at Reg. %x \n\r", dev_i2c.addr, BQ2512X_BATT_VOLT_MONITOR_REG);
    return 0;
  }

  int range = ((data & 0x60)>> 5) * 10 + 60;
  int th = 0;
  switch ((data & 0x1C) >> 2) {
    case 7:
      th = 9;
      break;
    case 6:
      th = 7;
      break;
    case 3:
      th = 5;
      break;
    case 2:
      th = 3;
      break;
    case 1:
      th = 1;
  }
  int percent = range + th;
  int voltage = (4200 * percent) / 100;
  printk("bq2512x_gauge: read voltage monitor reg: %02x, percents: %d%%, voltage: %dmV\n",data, percent, voltage);
  return voltage;
}

// Re-initialize BQ2512x to appropriate parameters (if TS is enabled or forceFlag is not zero, otherwise just do nothing)
// sysVoltage in mv, fastCharge and preCharge currents in mA
// Also updates bq2512x_lastVoltage variable
void bq2512x_reinit(int forceFlag, int sysVoltage, int fastCharge, int preCharge) {
  int ret;
  int nAttempts = 3;

  bq2512x_resume_i2c();
  // Attempt to read and change TS flag
  ret = bq2512x_ts_disable();

  if (ret < 0) {
    // Got problem at read/write, pulling up CD to enable
    printk("bq2512x_reinit: couldn't read, pulling up CD\n");
    bq2512x_activate();
    // Wait for transition timer from High-Z to active
    k_sleep(K_MSEC(2));
    while (((ret = bq2512x_ts_disable()) < 0) && (nAttempts > 0)) {
      k_sleep(K_MSEC(10));
      nAttempts--;
    }
  }
  int voltage = bq2512x_gauge();
  if (voltage > 0)
    bq2512x_lastVoltage = voltage;
  printk("bq2512x_reinit: ret %d, forceFlag %d, bq2512x_lastVoltage %d\n", ret, forceFlag, bq2512x_lastVoltage);
  // Read flags to reset faults
  (void) bq2512x_faults();
  if (ret || forceFlag) {        
        bq2512x_set_buvlo(2600);
        bq2512x_set_ldo(0);
        bq2512x_set_sys(sysVoltage);
        bq2512x_set_fchg(fastCharge);
        bq2512x_set_pchg(preCharge);
        // Read flags to reset faults
        (void) bq2512x_faults();
        (void) bq2512x_status();
  }

  // Switching to High-Z
  bq2512x_deactivate();
  bq2512x_suspend_i2c();
}

// Check if we're in charging mode (returns 0 if not charging, 1 if charging)
int bq2512x_is_charging() {
  int ret;
  bq2512x_resume_i2c();
  // Attempt to read and change TS flag
  ret = bq2512x_ts_disable();
  // If we couldn't read anything without pulling up CD line - we aren't in charge mode for sure
  if (ret < 0)
    return 0;

  if ((bq2512x_status() & 0xc0) == 0x40)
    return 1;
  return 0;
}

#endif
```

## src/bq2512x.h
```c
// Header file for boards with BQ25121A
#ifndef _BQ2512X_H
#define _BQ2512X_H

#include "myboards.h"

#ifdef USE_BQ25121A

/* Registers */
#define BQ2512X_STATUS_SHIPMODE_REG		0x00
#define BQ2512X_FAULTS_FAULTMASKS_REG		0x01
#define BQ2512X_TSCONTROL_STATUS_REG		0x02
#define BQ2512X_FASTCHARGE_CTL_REG		0x03
#define BQ2512X_CHARGETERM_CTL_REG		0x04
#define BQ2512X_BATT_VOLTAGE_CTL_REG		0x05
#define BQ2512X_SYSTEM_VOUT_CTL_REG		0x06
#define BQ2512X_LOADSW_LDO_CTL_REG		0x07
#define BQ2512X_PUSH_BTN_CTL_REG		0x08
#define BQ2512X_ILIMIT_UVLO_CTL_REG		0x09
#define BQ2512X_BATT_VOLT_MONITOR_REG		0x0A
#define BQ2512X_VIN_DPM_TIMER_REG		0x0B


// Last voltage read from bq2512x
extern int bq2512x_lastVoltage;

// Re-initialize BQ2512x to appropriate parameters (if TS is enabled or forceFlag is not zero, otherwise just do nothing)
// sysVoltage in mv, fastCharge and preCharge currents in mA
// Also updates bq2512x_lastVoltage variable
void bq2512x_reinit(int forceFlag, int sysVoltage, int fastCharge, int preCharge);

// Enter shipping mode (turns off everything to save power, will activate when charging)
void bq2512x_shipmode();

// Check if we're in charging mode (returns 0 if not charging, 1 if charging)
int bq2512x_is_charging();

#endif

#endif
```

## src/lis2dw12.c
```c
// LIS2DW12 accelerometer support
#include "lis2dw12.h"

#ifdef USE_LIS2DW12

#include <stdlib.h>
#include <zephyr/types.h>
#include <stddef.h>
#include <string.h>
#include <zephyr/sys/printk.h>
#include <zephyr/sys/util.h>
#include <zephyr/sys/byteorder.h>
#include <zephyr/sys/poweroff.h>
#include <zephyr/kernel.h>
#include <zephyr/device.h>
#include <zephyr/drivers/gpio.h>
#include <zephyr/pm/pm.h>
#include <zephyr/pm/device.h>
#include <zephyr/drivers/i2c.h>
#include "settings.h"

#define I2C0_NODE DT_NODELABEL(lis2dw12)
static const struct i2c_dt_spec dev_acc_i2c = I2C_DT_SPEC_GET(I2C0_NODE);

const struct device *const i2c_dev = DEVICE_DT_GET(DT_NODELABEL(i2c0));

int16_t accelTemperature = 0;

// Suspend i2c bus to save power
void lis2dw12_suspend_i2c() {
  int rc = pm_device_action_run(i2c_dev, PM_DEVICE_ACTION_SUSPEND);

  if (rc < 0)
    printk("Could not suspend I2C (%d)\n", rc);
  return;
}

// Resume i2c bus
void lis2dw12_resume_i2c() {
  int rc = pm_device_action_run(i2c_dev, PM_DEVICE_ACTION_RESUME);

  if (rc < 0)
    printk("Could not resume I2C (%d)\n", rc);
  return;
}

int16_t accSamples[33][3];

// Movements detected with 20 seconds interval
uint8_t moves20[30];
// Movements detected with 5 minutes interval
uint8_t moves300[288];

// When we did last shift for moves300 array
uint32_t lastMovesShift = 0;

// Read LIS2DW12 accelerometer fifo (all)
int accel_read() {
  int ret, i;
  int16_t accTemp;

  lis2dw12_resume_i2c();
  if (!device_is_ready(dev_acc_i2c.bus)) {
    printk("I2C bus %s is not ready!\n\r",dev_acc_i2c.bus->name);
    return -1;
  }

  ret = i2c_burst_read_dt(&dev_acc_i2c, LIS2DW12_REG_OUT_TEMP_L, (uint8_t *) &accTemp, 2);
  if (ret != 0) {
    printk("Failed to read from I2C device address %x at Reg. %x \n\r", dev_acc_i2c.addr, LIS2DW12_REG_OUT_TEMP_L);
    return -1;
  }
  accelTemperature = (int) (250 + ((float) accTemp / 25.6f));
  printk("LIS2DW12 temperature: %d (%04x) %d\n", accTemp, accTemp, accelTemperature);

  ret = i2c_burst_read_dt(&dev_acc_i2c, LIS2DW12_REG_OUT_X_L, ((uint8_t *) accSamples) + 6, sizeof(accSamples) - 6);
  if (ret != 0) {
    printk("Failed to read from I2C device address %x at Reg. %x \n\r", dev_acc_i2c.addr, LIS2DW12_REG_OUT_X_L);
    return -1;
  }

  lis2dw12_suspend_i2c();

  int first = 1;
  // Check if we have previous last reading in the buffer
  if ((accSamples[0][0] == -1) && (accSamples[0][1] == -1) && (accSamples[0][2] == -1))
    first = 2;

  // Calculate number of disturbances from accelerometer data
  int movements = 0;
  for (i = first; i < 33; i++) 
    if ((abs(accSamples[i-1][0] - accSamples[i][0]) > accelThreshold)
        || (abs(accSamples[i-1][1] - accSamples[i][1]) > accelThreshold)
        || (abs(accSamples[i-1][2] - accSamples[i][2]) > accelThreshold))
      movements++;

  printk("lis2dw12_read: movements %d\n", movements);

  // shift 20sec array
  memmove(moves20 + 1, moves20, sizeof(moves20) - 1);
  // Count as moving if we have more than one large shift in any of axis'es reading
  if (movements > 1)
    moves20[0] = 1;
  else
    moves20[0] = 0;

  // Check if we have to shift moves300 array (every 5 minutes)
  if (k_uptime_seconds() > (lastMovesShift + 300)) {
    memmove(moves300 + 1, moves300, sizeof(moves300) - 1);
    lastMovesShift = k_uptime_seconds();
  }  

  // Update first two elements of moves300 array
  moves300[0] = 0;
  moves300[1] = 0;
  for (i = 0; i < 15; i++) 
    if (moves20[i]) {
      moves300[0] = 1;
      break;
    }
  for (i = 15; i < 30; i++) 
    if (moves20[i]) {
      moves300[1] = 1;
      break;
    }

  // Put last reading onto first position for next cycle
  accSamples[0][0] = accSamples[32][0];
  accSamples[0][1] = accSamples[32][1];
  accSamples[0][2] = accSamples[32][2];
  return 0;
}

// Check for movements during a specific period
// startOffset, endOffset - time in minutes from current
// Data is stored in a circular buffer with 5 minutes resolution
int accel_movement(int startOffset, int endOffset) {
  int start = startOffset / 5;
  int end = (endOffset + 4)/ 5;

  if ((start < 0) || (start >= sizeof(moves300)))
    start = 0;
  if ((end < 0) || (end > sizeof(moves300)))
    end = sizeof(moves300);
  
  for (int i = start; i < end; i++)
    if (moves300[i] > 0)
      return 1;
  return 0;
}

// Power down accelerometer
int accel_powerdown() {
  lis2dw12_resume_i2c();
  if (!device_is_ready(dev_acc_i2c.bus)) {
    printk("I2C bus %s is not ready!\n\r",dev_acc_i2c.bus->name);
    return -1;
  }
  i2c_reg_write_byte_dt(&dev_acc_i2c, LIS2DW12_REG_CTRL_REG1, 0x0);
  accelTemperature = 0;

  lis2dw12_suspend_i2c();
  return 0;
}

static int arrays_initialized = 0;

// Init LIS2DW12 accelerometer
int accel_init() {
  int ret;
  uint8_t data;

  lis2dw12_resume_i2c();
  if (!device_is_ready(dev_acc_i2c.bus)) {
    printk("I2C bus %s is not ready!\n\r",dev_acc_i2c.bus->name);
    return -1;
  }

  i2c_reg_read_byte_dt(&dev_acc_i2c, LIS2DW12_REG_WHO_AM_I, &data);
  printk("LIS2DW12 init: read who_am_i reg: %02x\n", data);
  
  // Soft reset
  i2c_reg_write_byte_dt(&dev_acc_i2c, LIS2DW12_REG_CTRL_REG2, LIS2DW12_CTRL_REG2_SOFT_RESET);
  k_sleep(K_MSEC(1));
  // Load trimming
  i2c_reg_write_byte_dt(&dev_acc_i2c, LIS2DW12_REG_CTRL_REG2, LIS2DW12_CTRL_REG2_BOOT);
  k_sleep(K_MSEC(20));

  // Low power mode 1 1.65Hz Continous mode, no interrupts
  i2c_reg_write_byte_dt(&dev_acc_i2c, LIS2DW12_REG_CTRL_REG7, LIS2DW12_CTRL_REG7_DRDY_PULSES);
  i2c_reg_write_byte_dt(&dev_acc_i2c, LIS2DW12_REG_WAKE_UP_THS, 0x0);
  i2c_reg_write_byte_dt(&dev_acc_i2c, LIS2DW12_REG_WAKE_UP_DUR, 0x0);
  i2c_reg_write_byte_dt(&dev_acc_i2c, LIS2DW12_REG_FIFO_CTRL, 0xC0);
  i2c_reg_write_byte_dt(&dev_acc_i2c, LIS2DW12_REG_INT_DUR, 0x0);
  i2c_reg_write_byte_dt(&dev_acc_i2c, LIS2DW12_REG_CTRL_REG6, LIS2DW12_CTRL_REG6_LOW_NOISE);
  i2c_reg_write_byte_dt(&dev_acc_i2c, LIS2DW12_REG_CTRL_REG5, 0x0);
  i2c_reg_write_byte_dt(&dev_acc_i2c, LIS2DW12_REG_CTRL_REG4, 0x0);
  // Somewhat open-drain output on interrupts causes problems with high current consumption at some voltages, using push-pull
  i2c_reg_write_byte_dt(&dev_acc_i2c, LIS2DW12_REG_CTRL_REG3, 0x0);
  // KKM K4P has CS connected to VDD directly, no need pull-up
  i2c_reg_write_byte_dt(&dev_acc_i2c, LIS2DW12_REG_CTRL_REG2, LIS2DW12_CTRL_REG2_IF_ADD_INC | LIS2DW12_CTRL_REG2_CS_PU_DISC);
  // Low power mode 1 (12 bit), 1.65Hz ODR
  i2c_reg_write_byte_dt(&dev_acc_i2c, LIS2DW12_REG_CTRL_REG1, 0x10);
  
  lis2dw12_suspend_i2c();
  
  // Initialize arrays
  if (!arrays_initialized) {
    accSamples[0][0] = -1;
    accSamples[0][1] = -1;
    accSamples[0][2] = -1;
    memset(moves20, 0, sizeof(moves20));
    memset(moves300, 0, sizeof(moves300));
    arrays_initialized = 1;
  }
  return 0;
}


#endif
```

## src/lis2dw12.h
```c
// Header file for LIS2DW12 acelerometer
#ifndef _LIS2DW12_H
#define _LIS2DW12_H

#include <stdint.h>
#include "myboards.h"

#ifdef USE_LIS2DW12

// Accelerometer read interval (in seconds)
#define INTERVAL_ACCELEROMETER 20

#define LIS2DW12_ID                          0x44

#define LIS2DW12_REG_OUT_TEMP_L              0x0D
#define LIS2DW12_REG_OUT_TEMP_H              0x0E

#define LIS2DW12_REG_WHO_AM_I                0x0F

#define LIS2DW12_REG_CTRL_REG1               0x20
#define LIS2DW12_CTRL_REG1_ODR         (0xf << 4)
#define LIS2DW12_CTRL_REG1_MODE        (0x3 << 2)
#define LIS2DW12_CTRL_REG1_LP_MODE     (0x3 << 0)

#define LIS2DW12_REG_CTRL_REG2               0x21
#define LIS2DW12_CTRL_REG2_BOOT          (1 << 7)
#define LIS2DW12_CTRL_REG2_SOFT_RESET    (1 << 6)
#define LIS2DW12_CTRL_REG2_CS_PU_DISC    (1 << 4)
#define LIS2DW12_CTRL_REG2_BDU           (1 << 3)
#define LIS2DW12_CTRL_REG2_IF_ADD_INC    (1 << 2)
#define LIS2DW12_CTRL_REG2_I2C_DISABLE   (1 << 1)
#define LIS2DW12_CTRL_REG2_SIM           (1 << 0)

#define LIS2DW12_REG_CTRL_REG3               0x22
#define LIS2DW12_CTRL_REG3_ST_MODE     (0x3 << 6)
#define LIS2DW12_CTRL_REG3_PP_OD         (1 << 5)
#define LIS2DW12_CTRL_REG3_LIR           (1 << 4)
#define LIS2DW12_CTRL_REG3_H_LACTIVE     (1 << 3)
#define LIS2DW12_CTRL_REG3_SLP_MODE_SEL  (1 << 1)
#define LIS2DW12_CTRL_REG3_SLP_MODE_1    (1 << 0)
    
#define LIS2DW12_REG_CTRL_REG4               0x23

#define LIS2DW12_REG_CTRL_REG5               0x24
    
#define LIS2DW12_REG_CTRL_REG6               0x25
#define LIS2DW12_CTRL_REG6_BW_FILT     (0x3 << 6)
#define LIS2DW12_CTRL_REG6_FS          (0x3 << 4)
#define LIS2DW12_CTRL_REG6_FDS           (1 << 3)
#define LIS2DW12_CTRL_REG6_LOW_NOISE     (1 << 2)

#define LIS2DW12_REG_TEMP_OUT                0x26

#define LIS2DW12_REG_STATUS_REG              0x27


#define LIS2DW12_REG_OUT_X_L                 0x28
#define LIS2DW12_REG_OUT_X_H                 0x29
#define LIS2DW12_REG_OUT_Y_L                 0x2A
#define LIS2DW12_REG_OUT_Y_H                 0x2B
#define LIS2DW12_REG_OUT_Z_L                 0x2C
#define LIS2DW12_REG_OUT_Z_H                 0x2D

#define LIS2DW12_REG_FIFO_CTRL               0x2E
#define LIS2DW12_FIFO_CTRL_FMODE       (0x7 << 5)
#define LIS2DW12_FIFO_CTRL_FTH             (0x1F)

#define LIS2DW12_REG_FIFO_SAMPLES            0x2F
#define LIS2DW12_FIFO_SAMPLES_FTH        (1 << 7)
#define LIS2DW12_FIFO_SAMPLES_OVR        (1 << 6)
#define LIS2DW12_FIFO_SAMPLES              (0x3F)
    
#define LIS2DW12_REG_TAP_THS_X               0x30
#define LIS2DW12_TAP_THS_X_4D_EN         (1 << 7)
#define LIS2DW12_TAP_THS_X_6D_THS      (0x3 << 5)
#define LIS2DW12_TAP_THS_X_THS             (0x1F)

#define LIS2DW12_REG_TAP_THS_Y               0x31
#define LIS2DW12_TAP_THS_Y_PRIOR       (0x7 << 5)
#define LIS2DW12_TAP_THS_Y_THS             (0x1F)

#define LIS2DW12_REG_TAP_THS_Z               0x32
#define LIS2DW12_TAP_THS_Z_X_EN          (1 << 7)
#define LIS2DW12_TAP_THS_Z_Y_EN          (1 << 6)
#define LIS2DW12_TAP_THS_Z_Z_EN          (1 << 5)
#define LIS2DW12_TAP_THS_Z_THS             (0x1F)

#define LIS2DW12_REG_INT_DUR                 0x33
#define LIS2DW12_INT_DUR_LATENCY       (0xf << 4)
#define LIS2DW12_INT_DUR_QUIET         (0x3 << 2)
#define LIS2DW12_INT_DUR_SHOCK         (0x3 << 0)

#define LIS2DW12_REG_WAKE_UP_THS             0x34
#define LIS2DW12_WAKE_THS_SINGLE_DOUBLE_TAP  0x80
#define LIS2DW12_WAKE_THS_SLEEP_ON           0x40
#define LIS2DW12_WAKE_THS_THS                0x3F

#define LIS2DW12_REG_WAKE_UP_DUR             0x35
#define LIS2DW12_WAKE_DUR_FF_DUR             0x80
#define LIS2DW12_WAKE_DUR_DUR                0x60
#define LIS2DW12_WAKE_DUR_STATIONARY         0x10
#define LIS2DW12_WAKE_DUR_SLEEP_DUR          0x0F
    
#define LIS2DW12_REG_FREEFALL                0x36
#define LIS2DW12_FREEFALL_DUR         (0x1F << 3)
#define LIS2DW12_FREEFALL_THS          (0x7 << 0)

#define LIS2DW12_REG_WAKE_UP_SRC             0x38
#define LIS2DW12_REG_TAP_SRC                 0x39
#define LIS2DW12_REG_SIXD_SRC                0x3A
    
#define LIS2DW12_REG_INT_SRC                 0x3B

#define LIS2DW12_REG_X_OFS                   0x3C
#define LIS2DW12_REG_Y_OFS                   0x3D
#define LIS2DW12_REG_Z_OFS                   0x3E

#define LIS2DW12_REG_CTRL_REG7               0x3F
#define LIS2DW12_CTRL_REG7_DRDY_PULSES   (1 << 7)
#define LIS2DW12_CTRL_REG7_INT2_ON_INT1  (1 << 6)
#define LIS2DW12_CTRL_REG7_INT_EN        (1 << 5)
#define LIS2DW12_CTRL_REG7_USR_OFF_OUT   (1 << 4)
#define LIS2DW12_CTRL_REG7_USR_OFF_WU    (1 << 3)
#define LIS2DW12_CTRL_REG7_USR_OFF_W     (1 << 2)
#define LIS2DW12_CTRL_REG7_HP_REF        (1 << 1)
#define LIS2DW12_CTRL_REG7_LPASS_6D      (1 << 0)  

// Temperature*10 updated by lis2dw12_read()
// for example, 281 = 28.1C degrees
extern int16_t accelTemperature;

// Power down accelerometer
int accel_powerdown();

// Check for movements during a specific period
// startOffset, endOffset - time in minutes from current
// Data is stored in a circular buffer with 5 minutes resolution
int accel_movement(int startOffset, int endOffset);

// Init LIS2DW12 accelerometer
int accel_init();

// Read temperature and FIFO buffer LIS2DW12 accelerometer
// Also updates internal movement time table
int accel_read();

#endif
#endif
```

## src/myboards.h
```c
// Defines for different boards
#ifndef _MYBOARDS_H
#define _MYBOARDS_H

// Settings mode interval (seconds)
#define INTERVAL_SETTINGS 60

// How long we wait for connection in settings mode (seconds)
#define SETTINGS_WAIT 2

// Settings advertisement interval (in milliseconds)
#define SETTINGS_ADV_INTERVAL 400

// How often we save current time in NVS (seconds)
#define INTERVAL_TIMESAVE 3600

// How often we check battery (seconds)
#define INTERVAL_BATTERYCHECK 60

// How often we broadcast with full power (seconds)
#define INTERVAL_MAXPOWER 68

// How many samples to measure battery voltage (including oversampling from .dts)
#define BATTERY_ADC_SAMPLES 3

#if defined(CONFIG_BOARD_WB_20241007)
// Boards with directly connected li-ion battery needs shutdown when voltage is too low
#define BATTERY_MULTIPLIER 5.0
#define BATTERY_UVLO_SHUTDOWN
#define BATTERY_LIION
#else
#define BATTERY_MULTIPLIER 1.0
#endif

#ifdef CONFIG_BOARD_KKM_P1_NRF52810
// KKM P1 has accelerometer and environment sensor (not implemented)
// We have to initialize I2C to preven KXTJ3 from drawing current
#define HAS_I2C_KXTJ3
// Initialize environment sensor for same reason
#define HAS_LED1_SWITCH
#endif

#ifdef CONFIG_BOARD_KKM_K4P
#define HAS_I2C_LIS2DW12
#define USE_ACCELEROMETER
#define USE_LIS2DW12
#define USE_BUTTON
#endif

#ifdef CONFIG_BOARD_KKM_C2_NRF82805
#define USE_BUTTON
#endif

#if defined(CONFIG_BOARD_NRF52DK_NRF52832)
#define USE_BUTTON
#endif

#ifdef CONFIG_BOARD_WB_20241125
// The board has BQ2512A as switching regulator and requires shutdown via shipping mode
#define HAS_I2C_BQ25121A
#define USE_BQ25121A
#define BATTERY_UVLO_SHUTDOWN
#define BATTERY_LIION
// The beacon will issue shipping mode shutdown when no keys loaded after 5 minutes
// Note: It will require BQ25121A's reset via charging to start working again
#define SHUTDOWN_NOKEYS 300

// Program BQ25121A to 2.5V output, 10mA charge current, 5mA precharge 
#define SYS_VOLTAGE 2500
#define CHARGE_CURRENT 10
#define PRECHARGE_CURRENT 5
#endif

// TX power settings (in dBm)
// Maximum power broadcast
#if defined(CONFIG_SOC_NRF52833) || defined(CONFIG_SOC_NRF54L15) || defined(CONFIG_SOC_NRF52840)
#define TX_POWER_HIGH 8
#else
#define TX_POWER_HIGH 4
#endif
// Normal power output
#define TX_POWER_NORMAL 0
// Low power output
#define TX_POWER_LOW -8

#ifdef BATTERY_LIION
// Li-Ion battery cutoff voltage (will switch to power save mode when it is reached)
// Ignored if BATTERY_UVLO_SHUTDOWN is not defined
#define BATTERY_LOW_VOLTAGE 2800

// Battery levels for Li-Ion batteries (in mV)
#define BATTERY_LEVEL_FULL 4000
#define BATTERY_LEVEL_NORMAL 3700
#define BATTERY_LEVEL_LOW 3300

#else

#define BATTERY_LOW_VOLTAGE 2400

// Battery levels for Lithium non-rechargeable cells (in mV)
#define BATTERY_LEVEL_FULL 3900
#define BATTERY_LEVEL_NORMAL 3700
#define BATTERY_LEVEL_LOW 3400
#endif

#endif
```

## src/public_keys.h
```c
// This file is autogenerated! Use generate_header_keys.pl to create!
// if all zeros - keys will be ignored!
const unsigned char default_airtag_key[][28] = {
  {
    0, 0, 0, 0, 0, 0, 0, 
    0, 0, 0, 0, 0, 0, 0, 
    0, 0, 0, 0, 0, 0, 0, 
    0, 0, 0, 0, 0, 0, 0, 
  },
};

const unsigned char default_fmdn_key[20] = {
  0, 0, 0, 0, 0,
  0, 0, 0, 0, 0,
  0, 0, 0, 0, 0,
  0, 0, 0, 0, 0,
};
```

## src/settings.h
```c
#ifndef _SETTINGS_H
#define _SETTINGS_H

// Every airtag key requires 28 bytes in RAM and in flash storage
#define MAX_KEYS_IN_MEMORY 40

// 1 - broadcast Google Find My, 0 - disabled
extern int flagFmdn;
// 1 - broadcast Airtag, 0 - disabled
extern int flagAirtag;
// 1, 2, 4, 8 seconds period for broadcasts
extern int multPeriod;
// 0 - low power (-8dbm), 1 - normal power (0dbm), 2 - high power (4dbm or 8dbm)
extern int txPower;
// Interval for keys change (600)
extern int changeInterval;
// Status byte behaviour
// first two bytes - specific byte to broadcast as status for Airtag and FMDN
// 0x10000 - broadcast first byte as status in airtag
// 0x100000 - broadcast second byte as status in FMDN
// 0x20000 - broadcast incrementing (every changeInterval) byte as status in airtag
// 0x200000 - broadcast incrementing byte as status in FMDN
// 0x30000 - broadcast battery voltage as status in airtag (32 - 3.2V)
// 0x300000 - broadcast battery voltage as status in FMDN
// 0x40000 - broadcast battery level (0..3) in airtag with first byte, binary OR
// 0x400000 - broadcast battery level (1..3) in FMDN with second byte, binary OR
// 0x50000 - every minute switch between broadcasting battery voltage, accelerometer and temperature in airtag
// 0x500000 - every minute switch between broadcasting battery voltage, accelerometer and temperature in airtag
extern int statusFlags;
// needs to be reset after settings update
extern int needsReset;
// needs additional pause (minute or two) to upload firmware after authorization
extern int pauseUpload;

// Number of airtag keys loaded
extern int numKeys;
// airtag keys
extern unsigned char (*currentKeys)[28];
// Google Find My Device Network key
extern unsigned char fmdnKey[20];

// Accelerometer threshold to detect movements
// If 0 - then don't use accelerometer even if present on board
extern int accelThreshold;

// MAC address in settings mode
extern uint8_t settingsMAC[6];

// Have we were turned on by button (if USE_BUTTON)?
extern int turnedOn;

// someone connected to the GATT (need some time to receive settings)
extern int connectedGatt;

// Correct authorization key was sent, wait two minutes more if nothing else was sent for possible OTA operation
extern int authorizedGatt;

// Initialize NVS and read settings
int init_settings();

// Start advertisement for settings
void start_settings_adv();

// Stop advertisement for settings, close all connections
void stop_settings_adv();

// Store current time in NVS
void store_time();

// Update turnedOn status in NVS (after button pressed to wake up)
void update_turnedOn();

// Returns time (in seconds), k_uptime_seconds()+offset
int64_t get_time();

#endif
```
